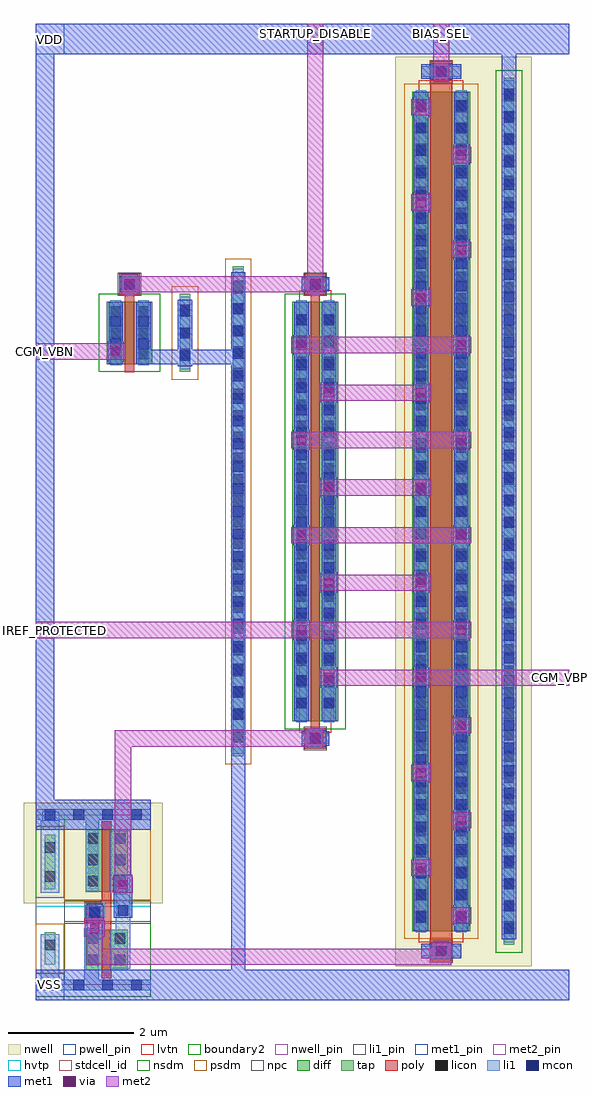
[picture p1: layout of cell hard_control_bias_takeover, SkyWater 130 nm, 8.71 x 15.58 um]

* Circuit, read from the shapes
.subckt hard_control_bias_takeover BIAS_SEL CGM_VBN CGM_VBP IREF_PROTECTED STARTUP_DISABLE VDD VSS
XM1 STARTUP_DISABLE BIAS_SEL VSS VSS sky130_fd_pr__nfet_01v8 w=0.65 l=0.15
XM2 VSS STARTUP_DISABLE CGM_VBN VSS sky130_fd_pr__nfet_01v8 w=1 l=0.15
XM3 CGM_VBP STARTUP_DISABLE IREF_PROTECTED VSS sky130_fd_pr__nfet_01v8_lvt w=6.7 l=0.15
XM4 STARTUP_DISABLE BIAS_SEL VDD VDD sky130_fd_pr__pfet_01v8_hvt w=1 l=0.15
XM5 IREF_PROTECTED BIAS_SEL CGM_VBP VDD sky130_fd_pr__pfet_01v8_lvt w=13.4 l=0.35
.ends

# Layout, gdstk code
import gdstk
lib = gdstk.Library(unit=1e-6, precision=1e-09)
def R(c, l, rs):  # rectangles x0, y0, x1, y1
    for r in rs: c.add(gdstk.rectangle(r[:2], r[2:], *l))
def A(c, l, x, y, w, h, nx, ny, dx, dy):  # array of equal rectangles
    R(c, l, [(x+i*dx, y+j*dy, x+i*dx+w, y+j*dy+h) for i in range(nx) for j in range(ny)])
def P(c, l, *ps):  # polygons
    for p in ps: c.add(gdstk.Polygon(p, *l))
nwell_pin = (64, 16)
nwell = (64, 20)
diff = (65, 20)
tap = (65, 44)
poly = (66, 20)
licon = (66, 44)
li1_pin = (67, 16)
li1 = (67, 20)
mcon = (67, 44)
met1_pin = (68, 16)
met1 = (68, 20)
via = (68, 44)
met2_pin = (69, 16)
met2 = (69, 20)
hvtp = (78, 44)
stdcell_id = (81, 4)
nsdm = (93, 44)
psdm = (94, 20)
npc = (95, 20)
pwell_pin = (122, 16)
lvtn = (125, 44)
boundary2 = (236, 0)

sky130_fd_sc_hd__tapvpwr = lib.new_cell('sky130_fd_sc_hd__tapvpwrvgnd_1')
R(sky130_fd_sc_hd__tapvpwr, nwell, [(-0.19,1.305,0.65,2.91)])
R(sky130_fd_sc_hd__tapvpwr, tap, [(0.145,0.32,0.315,0.845), (0.145,1.525,0.315,2.4)])
R(sky130_fd_sc_hd__tapvpwr, licon, [(0.145,0.555,0.315,0.725), (0.145,1.645,0.315,1.815), (0.145,2.11,0.315,2.28)])
R(sky130_fd_sc_hd__tapvpwr, li1, [(0,-0.085,0.46,0.085), (0.085,0,0.375,0.81), (0.085,1.47,0.375,2.72), (0,2.635,0.46,2.805)])
R(sky130_fd_sc_hd__tapvpwr, mcon, [(0.145,-0.085,0.315,0.085), (0.145,2.635,0.315,2.805)])
R(sky130_fd_sc_hd__tapvpwr, met1_pin, [(0.105,-0.09,0.36,0.1), (0.11,2.62,0.375,2.765)])
R(sky130_fd_sc_hd__tapvpwr, met1, [(0,-0.24,0.46,0.24), (0,2.48,0.46,2.96)])
R(sky130_fd_sc_hd__tapvpwr, hvtp, [(0,1.25,0.46,2.72)])
R(sky130_fd_sc_hd__tapvpwr, stdcell_id, [(0,0,0.46,2.72)])
R(sky130_fd_sc_hd__tapvpwr, nsdm, [(0,-0.19,0.46,0.19), (0,1.395,0.46,2.53)])
R(sky130_fd_sc_hd__tapvpwr, psdm, [(0,0.19,0.46,0.975), (0,2.53,0.46,2.91)])
sky130_fd_sc_hd__tapvpwr.add(gdstk.Label('VPWR', (0.23,2.72), layer=68, texttype=5))
sky130_fd_sc_hd__tapvpwr.add(gdstk.Label('VGND', (0.23,0), layer=68, texttype=5))
sky130_fd_sc_hd__tapvpwr.add(gdstk.Label('tapvpwrvgnd_1', (0,0), layer=83, texttype=44))

sky130_fd_pr__nfet_01v8_ = lib.new_cell('sky130_fd_pr__nfet_01v8_7QQFQW')
R(sky130_fd_pr__nfet_01v8_, diff, [(-0.365,-0.655,0.365,0.345)])
R(sky130_fd_pr__nfet_01v8_, poly, [(-0.075,-0.785,0.075,0.455), (-0.165,0.455,0.165,0.785)])
A(sky130_fd_pr__nfet_01v8_, licon, -0.305, -0.58, 0.17, 0.17, 1, 3, 0, 0.34)
A(sky130_fd_pr__nfet_01v8_, licon, 0.135, -0.58, 0.17, 0.17, 1, 3, 0, 0.34)
R(sky130_fd_pr__nfet_01v8_, licon, [(-0.085,0.535,0.085,0.705)])
R(sky130_fd_pr__nfet_01v8_, li1, [(-0.305,-0.675,-0.135,0.365), (0.135,-0.675,0.305,0.365), (-0.165,0.535,0.165,0.705)])
R(sky130_fd_pr__nfet_01v8_, mcon, [(-0.305,-0.42,-0.135,-0.25), (0.135,-0.42,0.305,-0.25), (-0.305,-0.06,-0.135,0.11), (0.135,-0.06,0.305,0.11), (-0.085,0.535,0.085,0.705)])
R(sky130_fd_pr__nfet_01v8_, met1, [(-0.335,-0.655,-0.105,0.345), (0.105,-0.655,0.335,0.345), (-0.145,0.505,0.145,0.735)])
R(sky130_fd_pr__nfet_01v8_, nsdm, [(-0.49,-0.78,0.49,0.47)])
R(sky130_fd_pr__nfet_01v8_, npc, [(-0.185,0.435,0.185,0.805)])
sky130_fd_pr__nfet_01v8_.add(gdstk.Label('D', (-0.22,-0.155), layer=67, texttype=5))
sky130_fd_pr__nfet_01v8_.add(gdstk.Label('S', (0.22,-0.155), layer=67, texttype=5))
sky130_fd_pr__nfet_01v8_.add(gdstk.Label('G', (0,0.62), layer=67, texttype=5))

sky130_fd_pr__pfet_01v8_ = lib.new_cell('sky130_fd_pr__pfet_01v8_lvt_KHQS3C')
R(sky130_fd_pr__pfet_01v8_, nwell, [(-0.645,-7.2,0.645,7.2)])
R(sky130_fd_pr__pfet_01v8_, diff, [(-0.465,-6.7,0.465,6.7)])
R(sky130_fd_pr__pfet_01v8_, poly, [(-0.175,-7.185,0.175,7.185)])
A(sky130_fd_pr__pfet_01v8_, licon, -0.405, -6.545, 0.17, 0.17, 1, 39, 0, 0.34)
A(sky130_fd_pr__pfet_01v8_, licon, 0.235, -6.545, 0.17, 0.17, 1, 39, 0, 0.34)
R(sky130_fd_pr__pfet_01v8_, licon, [(-0.085,-7.105,0.085,-6.935), (-0.085,6.935,0.085,7.105)])
R(sky130_fd_pr__pfet_01v8_, li1, [(-0.32,-7.105,0.32,-6.935), (-0.405,-6.72,-0.235,6.72), (0.235,-6.72,0.405,6.72), (-0.32,6.935,0.32,7.105)])
A(sky130_fd_pr__pfet_01v8_, mcon, -0.405, -6.565, 0.17, 0.17, 1, 37, 0, 0.36)
A(sky130_fd_pr__pfet_01v8_, mcon, 0.235, -6.565, 0.17, 0.17, 1, 37, 0, 0.36)
R(sky130_fd_pr__pfet_01v8_, mcon, [(-0.085,-7.105,0.085,-6.935), (-0.085,6.935,0.085,7.105)])
R(sky130_fd_pr__pfet_01v8_, met1, [(-0.155,-7.135,0.155,-7.105), (-0.32,-7.105,0.32,-6.935), (-0.155,-6.935,0.155,-6.905), (-0.435,-6.7,-0.205,6.7), (0.205,-6.7,0.435,6.7), (-0.155,6.905,0.155,6.935), (-0.32,6.935,0.32,7.105), (-0.155,7.105,0.155,7.135)])
R(sky130_fd_pr__pfet_01v8_, psdm, [(-0.59,-6.825,0.59,6.825)])
R(sky130_fd_pr__pfet_01v8_, npc, [(-0.185,-7.205,0.185,-6.835), (-0.185,6.835,0.185,7.205)])
R(sky130_fd_pr__pfet_01v8_, lvtn, [(-0.355,-6.88,0.355,6.88)])
sky130_fd_pr__pfet_01v8_.add(gdstk.Label('D', (-0.32,0), layer=67, texttype=5))
sky130_fd_pr__pfet_01v8_.add(gdstk.Label('S', (0.32,0), layer=67, texttype=5))
sky130_fd_pr__pfet_01v8_.add(gdstk.Label('G', (0,7.02), layer=67, texttype=5))

c_sky130_fd_pr__nfet_01v8_ = lib.new_cell('sky130_fd_pr__nfet_01v8_lvt_2VQ9WK')
R(c_sky130_fd_pr__nfet_01v8_, diff, [(-0.365,-3.35,0.365,3.35)])
R(c_sky130_fd_pr__nfet_01v8_, poly, [(-0.165,-3.79,0.165,-3.46), (-0.075,-3.46,0.075,3.46), (-0.165,3.46,0.165,3.79)])
A(c_sky130_fd_pr__nfet_01v8_, licon, -0.305, -3.145, 0.17, 0.17, 1, 19, 0, 0.34)
A(c_sky130_fd_pr__nfet_01v8_, licon, 0.135, -3.145, 0.17, 0.17, 1, 19, 0, 0.34)
R(c_sky130_fd_pr__nfet_01v8_, licon, [(-0.085,-3.71,0.085,-3.54), (-0.085,3.54,0.085,3.71)])
R(c_sky130_fd_pr__nfet_01v8_, li1, [(-0.22,-3.71,0.22,-3.54), (-0.305,-3.37,-0.135,3.37), (0.135,-3.37,0.305,3.37), (-0.22,3.54,0.22,3.71)])
A(c_sky130_fd_pr__nfet_01v8_, mcon, -0.305, -3.145, 0.17, 0.17, 1, 18, 0, 0.36)
A(c_sky130_fd_pr__nfet_01v8_, mcon, 0.135, -3.145, 0.17, 0.17, 1, 18, 0, 0.36)
R(c_sky130_fd_pr__nfet_01v8_, mcon, [(-0.085,-3.71,0.085,-3.54), (-0.085,3.54,0.085,3.71)])
R(c_sky130_fd_pr__nfet_01v8_, met1, [(-0.145,-3.74,0.145,-3.71), (-0.22,-3.71,0.22,-3.54), (-0.145,-3.54,0.145,-3.51), (-0.335,-3.35,-0.105,3.35), (0.105,-3.35,0.335,3.35), (-0.145,3.51,0.145,3.54), (-0.22,3.54,0.22,3.71), (-0.145,3.71,0.145,3.74)])
R(c_sky130_fd_pr__nfet_01v8_, nsdm, [(-0.49,-3.475,0.49,3.475)])
R(c_sky130_fd_pr__nfet_01v8_, npc, [(-0.185,-3.81,0.185,-3.44), (-0.185,3.44,0.185,3.81)])
R(c_sky130_fd_pr__nfet_01v8_, lvtn, [(-0.255,-3.53,0.255,3.53)])
c_sky130_fd_pr__nfet_01v8_.add(gdstk.Label('D', (-0.22,0), layer=67, texttype=5))
c_sky130_fd_pr__nfet_01v8_.add(gdstk.Label('S', (0.22,0), layer=67, texttype=5))
c_sky130_fd_pr__nfet_01v8_.add(gdstk.Label('G', (0,3.625), layer=67, texttype=5))

switch_tg_analog_nf01 = lib.new_cell('switch_tg_analog_nf01')
R(switch_tg_analog_nf01, nwell, [(2.84,-7.26,5.02,7.26)])
R(switch_tg_analog_nf01, tap, [(4.57,-6.92,4.74,6.92), (0.25,-3.91,0.42,3.91)])
A(switch_tg_analog_nf01, licon, 4.57, -6.715, 0.17, 0.17, 1, 40, 0, 0.34)
A(switch_tg_analog_nf01, licon, 0.25, -3.655, 0.17, 0.17, 1, 22, 0, 0.34)
R(switch_tg_analog_nf01, li1, [(4.57,-6.88,4.74,6.88), (0.25,-3.87,0.42,3.87)])
A(switch_tg_analog_nf01, mcon, 4.57, -6.745, 0.17, 0.17, 1, 38, 0, 0.36)
A(switch_tg_analog_nf01, mcon, 0.25, -3.685, 0.17, 0.17, 1, 21, 0, 0.36)
R(switch_tg_analog_nf01, met1_pin, [(0.22,-0.4,0.45,0.4), (4.54,-0.4,4.77,0.4), (1.345,3.51,1.785,3.74), (3.255,6.905,3.895,7.135)])
R(switch_tg_analog_nf01, met1, [(3.255,-7.135,3.895,-6.905), (4.54,-6.83,4.77,6.83), (3.765,-6.61,4.025,-6.29), (3.125,-5.85,3.385,-5.53), (3.765,-5.09,4.025,-4.77), (3.125,-4.335,3.385,-4.015), (0.22,-3.82,0.45,3.82), (1.345,-3.74,1.785,-3.51), (3.765,-3.575,4.025,-3.255), (1.655,-2.815,1.915,-2.495), (3.125,-2.815,3.385,-2.495), (1.215,-2.055,1.475,-1.735), (3.765,-2.055,4.025,-1.735), (1.655,-1.3,1.915,-0.98), (3.125,-1.3,3.385,-0.98), (1.215,-0.54,1.475,-0.22), (3.765,-0.54,4.025,-0.22), (1.655,0.22,1.915,0.54), (3.125,0.22,3.385,0.54), (1.215,0.98,1.475,1.3), (3.765,0.98,4.025,1.3), (1.655,1.735,1.915,2.055), (3.125,1.735,3.385,2.055), (1.215,2.495,1.475,2.815), (3.765,2.495,4.025,2.815), (3.125,3.255,3.385,3.575), (1.345,3.51,1.785,3.74), (3.765,4.015,4.025,4.335), (3.125,4.77,3.385,5.09), (3.765,5.53,4.025,5.85), (3.125,6.29,3.385,6.61), (3.255,6.905,3.895,7.135)])
R(switch_tg_analog_nf01, via, [(3.82,-6.525,3.97,-6.375), (3.18,-5.765,3.33,-5.615), (3.82,-5.005,3.97,-4.855), (3.18,-4.25,3.33,-4.1), (3.82,-3.49,3.97,-3.34), (1.71,-2.73,1.86,-2.58), (3.18,-2.73,3.33,-2.58), (1.27,-1.97,1.42,-1.82), (3.82,-1.97,3.97,-1.82), (1.71,-1.215,1.86,-1.065), (3.18,-1.215,3.33,-1.065), (1.27,-0.455,1.42,-0.305), (3.82,-0.455,3.97,-0.305), (1.71,0.305,1.86,0.455), (3.18,0.305,3.33,0.455), (1.27,1.065,1.42,1.215), (3.82,1.065,3.97,1.215), (1.71,1.82,1.86,1.97), (3.18,1.82,3.33,1.97), (1.27,2.58,1.42,2.73), (3.82,2.58,3.97,2.73), (3.18,3.34,3.33,3.49), (3.82,4.1,3.97,4.25), (3.18,4.855,3.33,5.005), (3.82,5.615,3.97,5.765), (3.18,6.375,3.33,6.525)])
R(switch_tg_analog_nf01, met2_pin, [(3.115,-2.785,3.415,-2.525), (1.185,-2.025,1.485,-1.765)])
R(switch_tg_analog_nf01, met2, [(3.735,-6.58,4.055,-6.32), (3.095,-5.82,3.415,-5.56), (3.735,-5.06,4.055,-4.8), (3.095,-4.305,3.415,-4.045), (3.735,-3.545,4.055,-3.285), (1.625,-2.785,3.415,-2.525), (1.185,-2.025,4.055,-1.765), (1.625,-1.27,3.415,-1.01), (1.185,-0.51,4.055,-0.25), (1.625,0.25,3.415,0.51), (1.185,1.01,4.055,1.27), (1.625,1.765,3.415,2.025), (1.185,2.525,4.055,2.785), (3.095,3.285,3.415,3.545), (3.735,4.045,4.055,4.305), (3.095,4.8,3.415,5.06), (3.735,5.56,4.055,5.82), (3.095,6.32,3.415,6.58)])
R(switch_tg_analog_nf01, nsdm, [(4.445,-7.045,4.865,7.045)])
R(switch_tg_analog_nf01, psdm, [(0.125,-4.035,0.545,4.035)])
switch_tg_analog_nf01.add(gdstk.Reference(sky130_fd_pr__pfet_01v8_, (3.575,0)))
switch_tg_analog_nf01.add(gdstk.Reference(c_sky130_fd_pr__nfet_01v8_, (1.565,0)))
switch_tg_analog_nf01.add(gdstk.Label('G', (1.565,3.625), layer=68, texttype=5))
switch_tg_analog_nf01.add(gdstk.Label('GB', (3.575,7.02), layer=68, texttype=5))
switch_tg_analog_nf01.add(gdstk.Label('VSS', (0.335,0), layer=68, texttype=5))
switch_tg_analog_nf01.add(gdstk.Label('VDD', (4.655,0), layer=68, texttype=5))
switch_tg_analog_nf01.add(gdstk.Label('A', (1.335,-1.895), layer=69, texttype=5))
switch_tg_analog_nf01.add(gdstk.Label('B', (3.265,-2.655), layer=69, texttype=5))

sky130_fd_sc_hd__inv_1 = lib.new_cell('sky130_fd_sc_hd__inv_1')
R(sky130_fd_sc_hd__inv_1, nwell_pin, [(0.145,2.635,0.315,2.805), (0.145,2.635,0.315,2.805)])
R(sky130_fd_sc_hd__inv_1, nwell, [(-0.19,1.305,1.57,2.91)])
R(sky130_fd_sc_hd__inv_1, diff, [(0.34,0.235,1.01,0.885), (0.34,1.485,1.01,2.485)])
P(sky130_fd_sc_hd__inv_1, poly, [(0.6,0.105),(0.6,0.995),(0.32,0.995),(0.32,1.325),(0.6,1.325),(0.6,2.615),(0.75,2.615),(0.75,0.105)])
A(sky130_fd_sc_hd__inv_1, licon, 0.38, 1.575, 0.17, 0.17, 1, 3, 0, 0.34)
A(sky130_fd_sc_hd__inv_1, licon, 0.8, 1.575, 0.17, 0.17, 1, 3, 0, 0.34)
R(sky130_fd_sc_hd__inv_1, licon, [(0.38,0.315,0.55,0.485), (0.8,0.315,0.97,0.485), (0.38,0.655,0.55,0.825), (0.8,0.655,0.97,0.825), (0.4,1.075,0.57,1.245)])
R(sky130_fd_sc_hd__inv_1, li1_pin, [(0.36,1.105,0.53,1.275), (0.82,1.105,0.99,1.275), (0.82,1.445,0.99,1.615)])
R(sky130_fd_sc_hd__inv_1, li1, [(0,-0.085,1.38,0.085), (0.32,0.005,0.55,0.905), (0.32,1.075,0.65,1.315), (0.34,1.495,0.55,2.675), (0,2.635,1.38,2.805)])
P(sky130_fd_sc_hd__inv_1, li1, [(0.72,0.255),(0.72,0.885),(0.82,0.885),(0.82,1.485),(0.72,1.485),(0.72,2.465),(1.05,2.465),(1.05,0.255)])
A(sky130_fd_sc_hd__inv_1, mcon, 0.145, -0.085, 0.17, 0.17, 3, 2, 0.46, 2.72)
R(sky130_fd_sc_hd__inv_1, met1_pin, [(0.145,-0.085,0.315,0.085), (0.145,-0.085,0.315,0.085), (0.145,2.635,0.315,2.805), (0.145,2.635,0.315,2.805)])
R(sky130_fd_sc_hd__inv_1, hvtp, [(0,1.25,1.38,2.72)])
R(sky130_fd_sc_hd__inv_1, stdcell_id, [(0,0,1.38,2.72)])
R(sky130_fd_sc_hd__inv_1, nsdm, [(0,-0.19,1.38,1.015)])
R(sky130_fd_sc_hd__inv_1, psdm, [(0,1.355,1.38,2.91)])
R(sky130_fd_sc_hd__inv_1, npc, [(0,0.975,1.38,1.345)])
R(sky130_fd_sc_hd__inv_1, pwell_pin, [(0.145,-0.085,0.315,0.085), (0.145,-0.085,0.315,0.085)])
R(sky130_fd_sc_hd__inv_1, boundary2, [(0,0,1.38,2.72)])
sky130_fd_sc_hd__inv_1.add(gdstk.FlexPath([(0,2.72),(1.38,2.72)], 0.48, ends="flush", simple_path=True, layer=68, datatype=20))  # met1
sky130_fd_sc_hd__inv_1.add(gdstk.FlexPath([(0,0),(1.38,0)], 0.48, ends="flush", simple_path=True, layer=68, datatype=20))  # met1
sky130_fd_sc_hd__inv_1.add(gdstk.Label('Y', (0.905,1.53), layer=67, texttype=5))
sky130_fd_sc_hd__inv_1.add(gdstk.Label('Y', (0.905,1.19), layer=67, texttype=5))
sky130_fd_sc_hd__inv_1.add(gdstk.Label('A', (0.445,1.19), layer=67, texttype=5))
sky130_fd_sc_hd__inv_1.add(gdstk.Label('VGND', (0.23,0), layer=68, texttype=5))
sky130_fd_sc_hd__inv_1.add(gdstk.Label('VPWR', (0.23,2.72), layer=68, texttype=5))
sky130_fd_sc_hd__inv_1.add(gdstk.Label('inv_1', (0,0), layer=83, texttype=44))
sky130_fd_sc_hd__inv_1.add(gdstk.Label('VPB', (0.23,2.72), layer=64, texttype=5))
sky130_fd_sc_hd__inv_1.add(gdstk.Label('VNB', (0.23,0), layer=64, texttype=59))

hard_control_bias_takeov = lib.new_cell('hard_control_bias_takeover')
R(hard_control_bias_takeov, tap, [(2.3,9.79,2.47,11.03)])
A(hard_control_bias_takeov, licon, 2.3, 9.985, 0.17, 0.17, 1, 3, 0, 0.34)
R(hard_control_bias_takeov, li1, [(0.86,1.075,1.03,1.245), (1.31,1.105,1.48,1.275), (2.3,9.83,2.47,10.99)])
A(hard_control_bias_takeov, mcon, 2.3, 9.965, 0.17, 0.17, 1, 3, 0, 0.36)
R(hard_control_bias_takeov, mcon, [(0.86,1.075,1.03,1.245), (1.31,1.105,1.48,1.275)])
R(hard_control_bias_takeov, met1_pin, [(0,-0.24,0.46,0.24), (0,14.86,0.46,15.34)])
R(hard_control_bias_takeov, met1, [(0,-0.24,8.52,0.24), (3.12,0.24,3.35,3.96), (6.315,0.41,6.635,0.67), (0.815,0.74,1.075,1.045), (0.8,1.045,1.09,1.275), (1.25,1.075,1.54,1.76), (0.815,1.275,1.075,1.3), (0,2.48,0.3,14.86), (4.305,3.805,4.625,4.065), (2.27,9.88,2.5,9.91), (1.605,9.91,3.35,10.14), (1.15,9.95,1.41,10.27), (2.27,10.14,2.5,10.94), (1.34,11.055,1.66,11.315), (4.305,11.055,4.625,11.315), (7.44,14.16,7.67,14.86), (6.315,14.45,6.635,14.71), (0,14.86,8.52,15.34)])
R(hard_control_bias_takeov, via, [(6.4,0.465,6.55,0.615), (0.87,0.825,1.02,0.975), (1.32,1.525,1.47,1.675), (4.39,3.86,4.54,4.01), (1.205,10.035,1.355,10.185), (1.425,11.11,1.575,11.26), (4.39,11.11,4.54,11.26), (6.4,14.505,6.55,14.655)])
R(hard_control_bias_takeov, met2_pin, [(8.22,4.775,8.52,5.035), (0,5.535,0.3,5.795), (0,9.98,0.3,10.24), (4.335,15.04,4.595,15.34), (6.345,15.04,6.605,15.34)])
R(hard_control_bias_takeov, met2, [(0.815,0.32,6.635,0.58), (0.815,0.58,1.075,0.77), (6.315,0.58,6.635,0.67), (6.345,0.67,6.605,0.7), (0.785,0.77,1.105,1.03), (1.235,1.47,1.555,1.73), (1.265,1.73,1.525,3.805), (4.335,3.775,4.595,3.805), (1.265,3.805,4.595,4.065), (4.335,4.065,4.595,4.095), (6.215,4.775,8.52,5.035), (0,5.535,4.235,5.795), (0,9.98,1.44,10.24), (1.37,11.025,1.63,11.055), (4.335,11.025,4.595,11.055), (1.37,11.055,4.595,11.315), (1.37,11.315,1.63,11.345), (4.335,11.315,4.595,15.34), (6.345,14.42,6.605,15.34)])
R(hard_control_bias_takeov, psdm, [(2.175,9.665,2.595,11.155)])
hard_control_bias_takeov.add(gdstk.Reference(sky130_fd_sc_hd__tapvpwr, (0,0)))
hard_control_bias_takeov.add(gdstk.Reference(sky130_fd_pr__nfet_01v8_, (1.5,10.565)))
hard_control_bias_takeov.add(gdstk.Reference(switch_tg_analog_nf01, (2.9,7.56)))
hard_control_bias_takeov.add(gdstk.Reference(sky130_fd_sc_hd__inv_1, (0.46,0)))
hard_control_bias_takeov.add(gdstk.Label('VSS', (0.23,0), layer=68, texttype=5))
hard_control_bias_takeov.add(gdstk.Label('VDD', (0.23,15.1), layer=68, texttype=5))
hard_control_bias_takeov.add(gdstk.Label('BIAS_SEL', (6.475,15.19), layer=69, texttype=5))
hard_control_bias_takeov.add(gdstk.Label('STARTUP_DISABLE', (4.465,15.19), layer=69, texttype=5))
hard_control_bias_takeov.add(gdstk.Label('CGM_VBN', (0.15,10.11), layer=69, texttype=5))
hard_control_bias_takeov.add(gdstk.Label('IREF_PROTECTED', (0.15,5.665), layer=69, texttype=5))
hard_control_bias_takeov.add(gdstk.Label('CGM_VBP', (8.37,4.905), layer=69, texttype=5))

lib.write_gds('hard_control_bias_takeover.gds')
